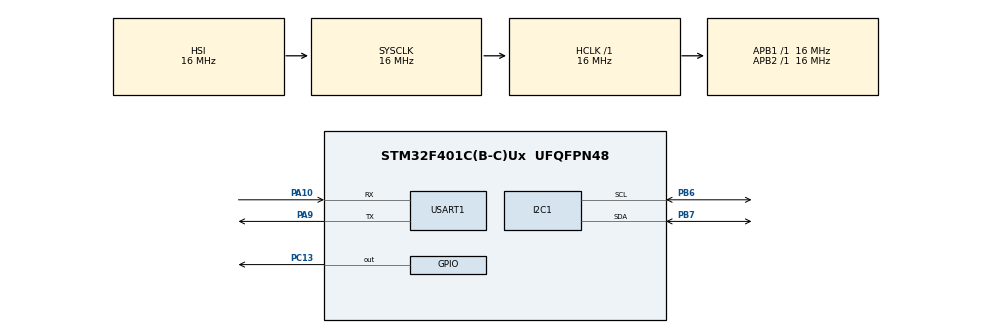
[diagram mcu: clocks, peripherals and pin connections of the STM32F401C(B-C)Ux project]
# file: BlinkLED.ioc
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Mcu.Family=STM32F4
Mcu.Name=STM32F401C(B-C)Ux
Mcu.Package=UFQFPN48
NVIC.PriorityGroup=NVIC_PRIORITYGROUP_4
PA10.Mode=Asynchronous
PA10.Signal=USART1_RX
PA13.Mode=Serial_Wire
PA13.Signal=SYS_JTMS-SWDIO
PA14.Mode=Serial_Wire
PA14.Signal=SYS_JTCK-SWCLK
PA9.Mode=Asynchronous
PA9.Signal=USART1_TX
PB6.Mode=I2C
PB6.Signal=I2C1_SCL
PB7.Mode=I2C
PB7.Signal=I2C1_SDA
PC13-ANTI_TAMP.Signal=GPIO_Output
ProjectManager.HeapSize=0x200
ProjectManager.StackSize=0x400
ProjectManager.TargetToolchain=STM32CubeIDE
RCC.AHBFreq_Value=16000000
RCC.APB1Freq_Value=16000000
RCC.APB2Freq_Value=16000000
RCC.CortexFreq_Value=16000000
RCC.HSE_VALUE=25000000
RCC.HSI_VALUE=16000000
RCC.LSE_VALUE=32768
RCC.SYSCLKFreq_VALUE=16000000
RCC.VCOOutputFreq_Value=192000000
USART1.VirtualMode=VM_ASYNC
board=custom

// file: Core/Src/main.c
/* USER CODE BEGIN Header */
/**
  ******************************************************************************
  * @file           : main.c
  * @brief          : Main program body
  ******************************************************************************
  * @attention
  *
  * Copyright (c) 2024 STMicroelectronics.
  * All rights reserved.
  *
  * This software is licensed under terms that can be found in the LICENSE file
  * in the root directory of this software component.
  * If no LICENSE file comes with this software, it is provided AS-IS.
  *
  ******************************************************************************
  */
/* USER CODE END Header */
#include "main.h"
/* USER CODE BEGIN Includes */
#include "stdio.h"
#include "string.h"
/* USER CODE END Includes */

/* USER CODE BEGIN PD */
#define GY_906_I2C_ADDR 0x5A << 1
#define GY_906_TEMP_REG 0x07
/* USER CODE END PD */

I2C_HandleTypeDef hi2c1;

UART_HandleTypeDef huart1;

void SystemClock_Config(void);
static void MX_GPIO_Init(void);
static void MX_USART1_UART_Init(void);
static void MX_I2C1_Init(void);
void send_uart_message(uint8_t address, uint8_t found);
/* USER CODE BEGIN PFP */

///UART Transmit logs
void send_uart_message_here(char* message)
{
    HAL_UART_Transmit(&huart1, (uint8_t*)message, strlen(message), HAL_MAX_DELAY);
}

/* USER CODE END PFP */

/* USER CODE BEGIN 0 */
const uint8_t data[] = "LED BLINKING!!!\r\n";
/* USER CODE END 0 */

int main(void)
{

  /* MCU Configuration--------------------------------------------------------*/

  /* Reset of all peripherals, Initializes the Flash interface and the Systick. */
  HAL_Init();

  /* Configure the system clock */
  SystemClock_Config();

  /* Initialize all configured peripherals */
  MX_GPIO_Init();
  MX_USART1_UART_Init();
  MX_I2C1_Init();
  /* USER CODE BEGIN 2 */

  /// I2C SCANNER
  int address, errorChk;
  int nDevices;

	for(address = 0x01; address < 0x7f; address++)
	{

		errorChk = HAL_I2C_IsDeviceReady(&hi2c1, (address<<1), 1, 5);
		if (errorChk == HAL_OK)
		{
			send_uart_message(address, 1);
		  nDevices++;
		}
		else
		{
			send_uart_message(address, 0);
		}
	}

	if (nDevices == 0)
	{
	  char* buff = "No I2C devices found\n";
	HAL_UART_Transmit(&huart1, (uint8_t*)buff, 100, 100);
	}
	HAL_Delay(1000);

	///-------------------------------------------------------------------------------

  /// MLX GY-90614 I2C SENSOR
	uint8_t temp_data[3] = {0};
	int temp;
	float temperature;
	char buffer[50];
	int length;

  /* USER CODE END 2 */

  /* Infinite loop */
  while (1)
  {

    /* USER CODE BEGIN 3 */
  // Request object temperature
	HAL_StatusTypeDef error = HAL_I2C_IsDeviceReady(&hi2c1, GY_906_I2C_ADDR, 1, 5);

	if (error == HAL_OK)
	{
	 // Read 3 bytes (2 temperature bytes + 1 PEC byte)
	 send_uart_message_here("Sensor Ready!!! Trying to receive data\r\n");
	 error = HAL_I2C_Mem_Read(&hi2c1, GY_906_I2C_ADDR, GY_906_TEMP_REG, 1, temp_data, 3, 100);

	 if (error == HAL_OK)
	 {
		 // Combine the two temperature bytes
		 temp = (uint16_t)temp_data[0] | ((uint16_t)temp_data[1] << 8);

		 // Convert to Celsius
		 temperature = (temp * 0.02) - 273.15;

		 // Format and send the temperature over UART
		 length = sprintf(buffer, "Object Temperature: %.2f and temp %d , temp[0] %d and temp[1] %d\r\n", temperature,temp,temp_data[0],temp_data[1]);
		 HAL_UART_Transmit(&huart1, (uint8_t*)buffer, length, HAL_MAX_DELAY);
	 }
	 else
	 {
		 send_uart_message_here("Error!!! Failed to receive data\r\n");
	 }
	}
	else
	{
	 send_uart_message_here("Error!!! Sensor not responding\r\n");
	}

	HAL_Delay(100); // Delay between readings

	///-------------------------------------------------------------------------------

  /// BLINK LED PC13
	  HAL_GPIO_WritePin(GPIOC, GPIO_PIN_13, SET);
	  HAL_Delay(500);
	  if(HAL_UART_Transmit(&huart1, data, sizeof(data)-1, 100) != HAL_OK)
		  Error_Handler();
	  HAL_Delay(500);
	  HAL_GPIO_WritePin(GPIOC, GPIO_PIN_13, RESET);
	  HAL_Delay(500);
  }
  /* USER CODE END 3 */
}

void SystemClock_Config(void)
{
  RCC_OscInitTypeDef RCC_OscInitStruct = {0};
  RCC_ClkInitTypeDef RCC_ClkInitStruct = {0};

  /** Configure the main internal regulator output voltage
  */
  __HAL_RCC_PWR_CLK_ENABLE();
  __HAL_PWR_VOLTAGESCALING_CONFIG(PWR_REGULATOR_VOLTAGE_SCALE2);

  /** Initializes the RCC Oscillators according to the specified parameters
  * in the RCC_OscInitTypeDef structure.
  */
  RCC_OscInitStruct.OscillatorType = RCC_OSCILLATORTYPE_HSI;
  RCC_OscInitStruct.HSIState = RCC_HSI_ON;
  RCC_OscInitStruct.HSICalibrationValue = RCC_HSICALIBRATION_DEFAULT;
  RCC_OscInitStruct.PLL.PLLState = RCC_PLL_NONE;
  if (HAL_RCC_OscConfig(&RCC_OscInitStruct) != HAL_OK)
  {
    Error_Handler();
  }

  /** Initializes the CPU, AHB and APB buses clocks
  */
  RCC_ClkInitStruct.ClockType = RCC_CLOCKTYPE_HCLK|RCC_CLOCKTYPE_SYSCLK
                              |RCC_CLOCKTYPE_PCLK1|RCC_CLOCKTYPE_PCLK2;
  RCC_ClkInitStruct.SYSCLKSource = RCC_SYSCLKSOURCE_HSI;
  RCC_ClkInitStruct.AHBCLKDivider = RCC_SYSCLK_DIV1;
  RCC_ClkInitStruct.APB1CLKDivider = RCC_HCLK_DIV1;
  RCC_ClkInitStruct.APB2CLKDivider = RCC_HCLK_DIV1;

  if (HAL_RCC_ClockConfig(&RCC_ClkInitStruct, FLASH_LATENCY_0) != HAL_OK)
  {
    Error_Handler();
  }
}

static void MX_I2C1_Init(void)
{

  hi2c1.Instance = I2C1;
  hi2c1.Init.ClockSpeed = 100000;
  hi2c1.Init.DutyCycle = I2C_DUTYCYCLE_2;
  hi2c1.Init.OwnAddress1 = 0;
  hi2c1.Init.AddressingMode = I2C_ADDRESSINGMODE_7BIT;
  hi2c1.Init.DualAddressMode = I2C_DUALADDRESS_DISABLE;
  hi2c1.Init.OwnAddress2 = 0;
  hi2c1.Init.GeneralCallMode = I2C_GENERALCALL_DISABLE;
  hi2c1.Init.NoStretchMode = I2C_NOSTRETCH_DISABLE;
  if (HAL_I2C_Init(&hi2c1) != HAL_OK)
  {
    Error_Handler();
  }

}

static void MX_USART1_UART_Init(void)
{

  huart1.Instance = USART1;
  huart1.Init.BaudRate = 115200;
  huart1.Init.WordLength = UART_WORDLENGTH_8B;
  huart1.Init.StopBits = UART_STOPBITS_1;
  huart1.Init.Parity = UART_PARITY_NONE;
  huart1.Init.Mode = UART_MODE_TX_RX;
  huart1.Init.HwFlowCtl = UART_HWCONTROL_NONE;
  huart1.Init.OverSampling = UART_OVERSAMPLING_16;
  if (HAL_UART_Init(&huart1) != HAL_OK)
  {
    Error_Handler();
  }

}

static void MX_GPIO_Init(void)
{
  GPIO_InitTypeDef GPIO_InitStruct = {0};

  /* GPIO Ports Clock Enable */
  __HAL_RCC_GPIOC_CLK_ENABLE();
  __HAL_RCC_GPIOA_CLK_ENABLE();
  __HAL_RCC_GPIOB_CLK_ENABLE();

  /*Configure GPIO pin Output Level */
  HAL_GPIO_WritePin(GPIOC, GPIO_PIN_13, GPIO_PIN_RESET);

  /*Configure GPIO pin : PC13 */
  GPIO_InitStruct.Pin = GPIO_PIN_13;
  GPIO_InitStruct.Mode = GPIO_MODE_OUTPUT_PP;
  GPIO_InitStruct.Pull = GPIO_NOPULL;
  GPIO_InitStruct.Speed = GPIO_SPEED_FREQ_LOW;
  HAL_GPIO_Init(GPIOC, &GPIO_InitStruct);

}

/* USER CODE BEGIN 4 */
void send_uart_message(uint8_t address, uint8_t found)
{
    char buffer[50]; // Buffer to hold the formatted string
    int length;

    // Format the string
    length = sprintf(buffer, found ? "I2C device found at address 0x%02X\r\n":"Error at address 0x%02X\r\n", address);

    // Transmit the string via UART
    HAL_UART_Transmit(&huart1, (uint8_t*)buffer, length, HAL_MAX_DELAY);
}
/* USER CODE END 4 */

void Error_Handler(void)
{
  __disable_irq();
  while (1)
  {
  }
}
